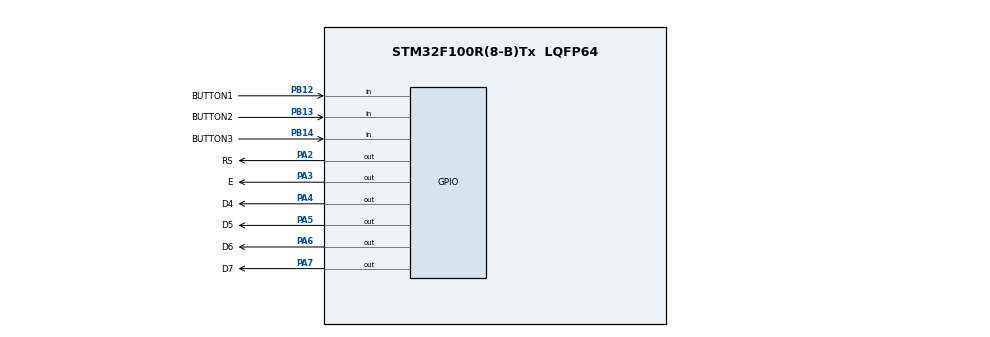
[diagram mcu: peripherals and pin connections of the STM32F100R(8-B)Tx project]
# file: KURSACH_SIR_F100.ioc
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Mcu.Family=STM32F1
Mcu.Name=STM32F100R(8-B)Tx
Mcu.Package=LQFP64
NVIC.PriorityGroup=NVIC_PRIORITYGROUP_4
NVIC.TIM1_UP_TIM16_IRQn=true\:0\:0\:false\:false\:true\:true\:true
NVIC.TIM2_IRQn=true\:0\:0\:false\:false\:true\:true\:true
NVIC.TIM3_IRQn=true\:0\:0\:false\:false\:true\:true\:true
PA13.Mode=Serial_Wire
PA13.Signal=SYS_JTMS-SWDIO
PA14.Mode=Serial_Wire
PA14.Signal=SYS_JTCK-SWCLK
PA2.GPIO_Label=RS
PA2.Signal=GPIO_Output
PA3.GPIO_Label=E
PA3.Signal=GPIO_Output
PA4.GPIO_Label=D4
PA4.Signal=GPIO_Output
PA5.GPIO_Label=D5
PA5.Signal=GPIO_Output
PA6.GPIO_Label=D6
PA6.Signal=GPIO_Output
PA7.GPIO_Label=D7
PA7.Signal=GPIO_Output
PB12.GPIO_Label=BUTTON1
PB12.GPIO_Mode=GPIO_MODE_INPUT
PB12.GPIO_PuPd=GPIO_PULLUP
PB12.Signal=GPIO_Input
PB13.GPIO_Label=BUTTON2
PB13.GPIO_Mode=GPIO_MODE_INPUT
PB13.GPIO_PuPd=GPIO_PULLUP
PB13.Signal=GPIO_Input
PB14.GPIO_Label=BUTTON3
PB14.GPIO_Mode=GPIO_MODE_INPUT
PB14.GPIO_PuPd=GPIO_PULLUP
PB14.Signal=GPIO_Input
PD0-OSC_IN.Mode=HSE-External-Oscillator
PD0-OSC_IN.Signal=RCC_OSC_IN
PD1-OSC_OUT.Mode=HSE-External-Oscillator
PD1-OSC_OUT.Signal=RCC_OSC_OUT
ProjectManager.HeapSize=0x200
ProjectManager.StackSize=0x400
ProjectManager.TargetToolchain=EWARM V8
RCC.APB1Freq_Value=8000000
RCC.APB2Freq_Value=8000000
TIM1.Period=800
TIM1.Prescaler=99
TIM2.Period=800
TIM2.Prescaler=99
TIM3.Period=200
TIM3.Prescaler=200
VP_TIM1_VS_ClockSourceINT.Mode=Internal
VP_TIM2_VS_ClockSourceINT.Mode=Internal
VP_TIM3_VS_ClockSourceINT.Mode=Internal
board=custom

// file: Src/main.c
/* USER CODE BEGIN Header */
/**
  ******************************************************************************
  * @file           : main.c
  * @brief          : Main program body
  ******************************************************************************
  * @attention
  *
  * <h2><center>&copy; Copyright (c) 2019 STMicroelectronics.
  * All rights reserved.</center></h2>
  *
  * This software component is licensed by ST under BSD 3-Clause license,
  * the "License"; You may not use this file except in compliance with the
  * License. You may obtain a copy of the License at:
  *                        opensource.org/licenses/BSD-3-Clause
  *
  ******************************************************************************
  */
/* USER CODE END Header */

#include "main.h"

/* USER CODE BEGIN Includes */
#include "hd44780.h"
#include "global.h"
/* USER CODE END Includes */

void SystemClock_Config(void);
static void MX_GPIO_Init(void);
static void MX_TIM1_Init(void);
static void MX_TIM2_Init(void);
static void MX_TIM3_Init(void);

int main(void)
{

  /* MCU Configuration--------------------------------------------------------*/

  /* Reset of all peripherals, Initializes the Flash interface and the Systick. */
  HAL_Init();

  /* Configure the system clock */
  SystemClock_Config();

  /* Initialize all configured peripherals */
  MX_GPIO_Init();
  MX_TIM1_Init();
  MX_TIM2_Init();
  MX_TIM3_Init();
  /* USER CODE BEGIN 2 */
  lcdInit();
  lcdClrScr();

  T1_min=MIN;
  T1_sec=SEC;
  T1_msec=MSEC;
  T2_min=MIN;
  T2_sec=SEC;
  T2_msec=MSEC;

  LL_TIM_EnableIT_UPDATE(TIM1);
  LL_TIM_EnableCounter(TIM1);
  LL_TIM_EnableIT_UPDATE(TIM2);
  LL_TIM_EnableCounter(TIM2);
  LL_TIM_EnableIT_UPDATE(TIM3);
  LL_TIM_EnableCounter(TIM3);
  /* USER CODE END 2 */

  /* Infinite loop */
  while (1)
  {

  }
}

void SystemClock_Config(void)
{
  LL_RCC_HSI_SetCalibTrimming(16);
  LL_RCC_HSI_Enable();

   /* Wait till HSI is ready */
  while(LL_RCC_HSI_IsReady() != 1)
  {

  }
  LL_RCC_SetAHBPrescaler(LL_RCC_SYSCLK_DIV_1);
  LL_RCC_SetAPB1Prescaler(LL_RCC_APB1_DIV_1);
  LL_RCC_SetAPB2Prescaler(LL_RCC_APB2_DIV_1);
  LL_RCC_SetSysClkSource(LL_RCC_SYS_CLKSOURCE_HSI);

   /* Wait till System clock is ready */
  while(LL_RCC_GetSysClkSource() != LL_RCC_SYS_CLKSOURCE_STATUS_HSI)
  {

  }
  LL_Init1msTick(8000000);
  LL_SYSTICK_SetClkSource(LL_SYSTICK_CLKSOURCE_HCLK);
  LL_SetSystemCoreClock(8000000);
}

static void MX_TIM1_Init(void)
{

  LL_TIM_InitTypeDef TIM_InitStruct = {0};

  /* Peripheral clock enable */
  LL_APB2_GRP1_EnableClock(LL_APB2_GRP1_PERIPH_TIM1);

  /* TIM1 interrupt Init */
  NVIC_SetPriority(TIM1_UP_TIM16_IRQn, NVIC_EncodePriority(NVIC_GetPriorityGrouping(),0, 0));
  NVIC_EnableIRQ(TIM1_UP_TIM16_IRQn);

  TIM_InitStruct.Prescaler = 99;
  TIM_InitStruct.CounterMode = LL_TIM_COUNTERMODE_UP;
  TIM_InitStruct.Autoreload = 800;
  TIM_InitStruct.ClockDivision = LL_TIM_CLOCKDIVISION_DIV1;
  TIM_InitStruct.RepetitionCounter = 0;
  LL_TIM_Init(TIM1, &TIM_InitStruct);
  LL_TIM_DisableARRPreload(TIM1);
  LL_TIM_SetClockSource(TIM1, LL_TIM_CLOCKSOURCE_INTERNAL);
  LL_TIM_SetTriggerOutput(TIM1, LL_TIM_TRGO_RESET);
  LL_TIM_DisableMasterSlaveMode(TIM1);

}

static void MX_TIM2_Init(void)
{

  LL_TIM_InitTypeDef TIM_InitStruct = {0};

  /* Peripheral clock enable */
  LL_APB1_GRP1_EnableClock(LL_APB1_GRP1_PERIPH_TIM2);

  /* TIM2 interrupt Init */
  NVIC_SetPriority(TIM2_IRQn, NVIC_EncodePriority(NVIC_GetPriorityGrouping(),0, 0));
  NVIC_EnableIRQ(TIM2_IRQn);

  TIM_InitStruct.Prescaler = 99;
  TIM_InitStruct.CounterMode = LL_TIM_COUNTERMODE_UP;
  TIM_InitStruct.Autoreload = 800;
  TIM_InitStruct.ClockDivision = LL_TIM_CLOCKDIVISION_DIV1;
  LL_TIM_Init(TIM2, &TIM_InitStruct);
  LL_TIM_DisableARRPreload(TIM2);
  LL_TIM_SetClockSource(TIM2, LL_TIM_CLOCKSOURCE_INTERNAL);
  LL_TIM_SetTriggerOutput(TIM2, LL_TIM_TRGO_RESET);
  LL_TIM_DisableMasterSlaveMode(TIM2);

}

static void MX_TIM3_Init(void)
{

  LL_TIM_InitTypeDef TIM_InitStruct = {0};

  /* Peripheral clock enable */
  LL_APB1_GRP1_EnableClock(LL_APB1_GRP1_PERIPH_TIM3);

  /* TIM3 interrupt Init */
  NVIC_SetPriority(TIM3_IRQn, NVIC_EncodePriority(NVIC_GetPriorityGrouping(),0, 0));
  NVIC_EnableIRQ(TIM3_IRQn);

  TIM_InitStruct.Prescaler = 200;
  TIM_InitStruct.CounterMode = LL_TIM_COUNTERMODE_UP;
  TIM_InitStruct.Autoreload = 200;
  TIM_InitStruct.ClockDivision = LL_TIM_CLOCKDIVISION_DIV1;
  LL_TIM_Init(TIM3, &TIM_InitStruct);
  LL_TIM_DisableARRPreload(TIM3);
  LL_TIM_SetClockSource(TIM3, LL_TIM_CLOCKSOURCE_INTERNAL);
  LL_TIM_SetTriggerOutput(TIM3, LL_TIM_TRGO_RESET);
  LL_TIM_DisableMasterSlaveMode(TIM3);

}

static void MX_GPIO_Init(void)
{
  GPIO_InitTypeDef GPIO_InitStruct = {0};

  /* GPIO Ports Clock Enable */
  __HAL_RCC_GPIOD_CLK_ENABLE();
  __HAL_RCC_GPIOA_CLK_ENABLE();
  __HAL_RCC_GPIOB_CLK_ENABLE();

  /*Configure GPIO pin Output Level */
  HAL_GPIO_WritePin(GPIOA, RS_Pin|E_Pin|D4_Pin|D5_Pin
                          |D6_Pin|D7_Pin, GPIO_PIN_RESET);

  /*Configure GPIO pins : RS_Pin E_Pin D4_Pin D5_Pin
                           D6_Pin D7_Pin */
  GPIO_InitStruct.Pin = RS_Pin|E_Pin|D4_Pin|D5_Pin
                          |D6_Pin|D7_Pin;
  GPIO_InitStruct.Mode = GPIO_MODE_OUTPUT_PP;
  GPIO_InitStruct.Pull = GPIO_NOPULL;
  GPIO_InitStruct.Speed = GPIO_SPEED_FREQ_LOW;
  HAL_GPIO_Init(GPIOA, &GPIO_InitStruct);

  /*Configure GPIO pins : BUTTON1_Pin BUTTON2_Pin BUTTON3_Pin */
  GPIO_InitStruct.Pin = BUTTON1_Pin|BUTTON2_Pin|BUTTON3_Pin;
  GPIO_InitStruct.Mode = GPIO_MODE_INPUT;
  GPIO_InitStruct.Pull = GPIO_PULLUP;
  HAL_GPIO_Init(GPIOB, &GPIO_InitStruct);

}

void Error_Handler(void)
{
}

/************************ (C) COPYRIGHT STMicroelectronics *****END OF FILE****/
